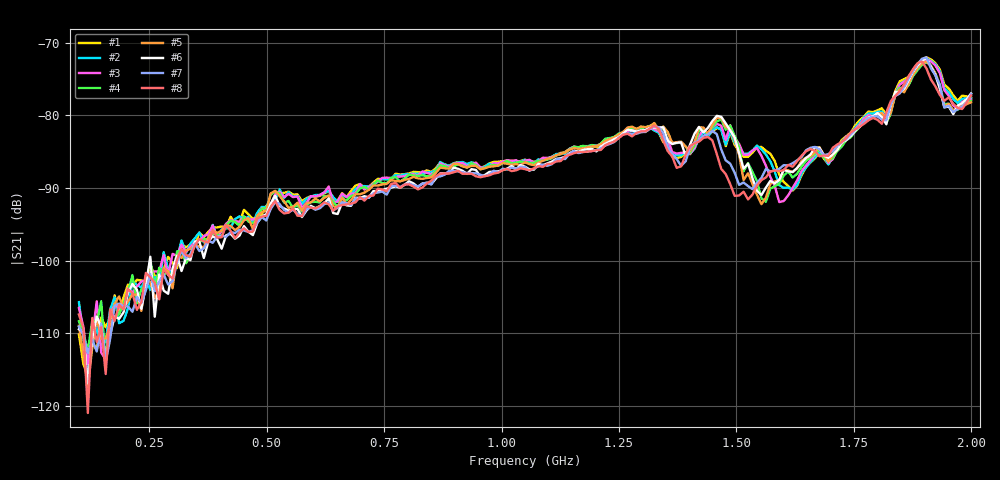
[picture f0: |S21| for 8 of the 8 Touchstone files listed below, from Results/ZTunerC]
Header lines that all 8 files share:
!Keysight Technologies,N5242B,MY48420967,A.15.65.19
!Correction: S11(C  2-Port  )
!S21(C  2-Port  )
!S12(C  2-Port  )
!S22(C  2-Port  )
!S2P File: Measurements: S11, S21, S12, S22:
# Hz S  dB  R 50
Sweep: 100 MHz to 2 GHz
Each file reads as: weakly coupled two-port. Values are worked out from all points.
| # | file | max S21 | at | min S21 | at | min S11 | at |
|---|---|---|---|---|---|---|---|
| 1 | S-ParamMeas20k_ZTunerC.s2p | -72.02 dB | 1.905 GHz | -115.8 dB | 119 MHz | -3.0 dB | 1.933 GHz |
| 2 | S-ParamMeas25k_ZTunerC.s2p | -72.20 dB | 1.905 GHz | -116.3 dB | 119 MHz | -3.0 dB | 1.933 GHz |
| 3 | S-ParamMeas30k_ZTunerC.s2p | -72.34 dB | 1.905 GHz | -114.2 dB | 119 MHz | -3.0 dB | 1.933 GHz |
| 4 | S-ParamMeas77k_ZTunerC.s2p | -72.69 dB | 1.905 GHz | -114.0 dB | 157 MHz | -3.2 dB | 1.933 GHz |
| 5 | S-ParamMeas100k_ZTunerC.s2p | -72.63 dB | 1.905 GHz | -117.4 dB | 119 MHz | -3.3 dB | 1.933 GHz |
| 6 | S-ParamMeas200k_ZTunerC.s2p | -72.12 dB | 1.905 GHz | -116.9 dB | 119 MHz | -3.9 dB | 1.933 GHz |
| 7 | S-ParamMeas250k_ZTunerC.s2p | -72.03 dB | 1.905 GHz | -113.9 dB | 157 MHz | -4.2 dB | 1.933 GHz |
| 8 | S-ParamMeas290k_ZTunerC.s2p | -72.62 dB | 1.895 GHz | -120.9 dB | 119 MHz | -4.5 dB | 1.933 GHz |
